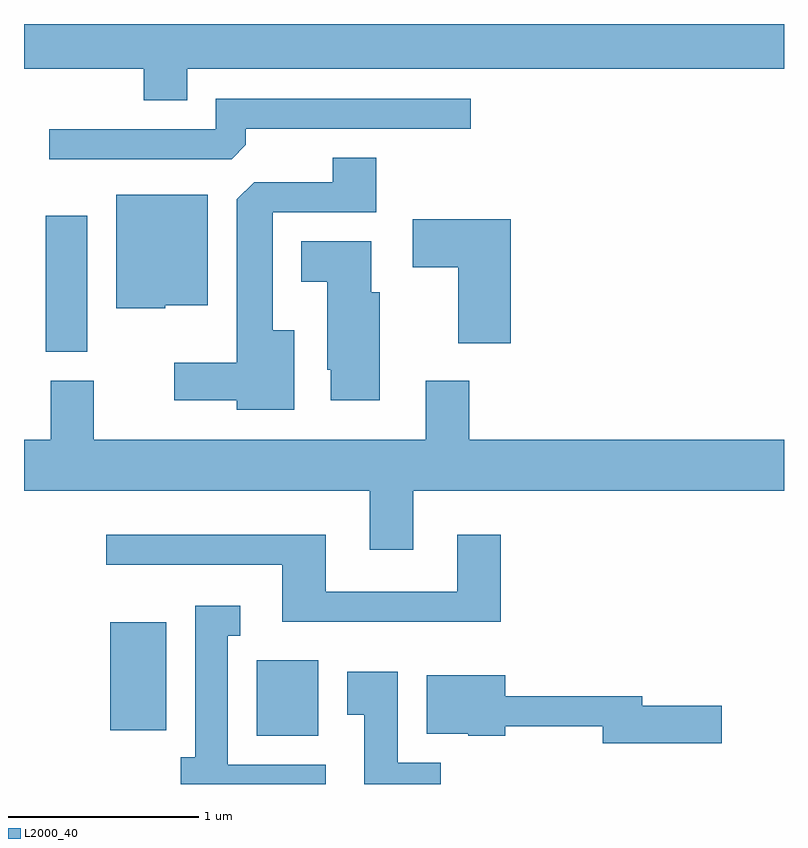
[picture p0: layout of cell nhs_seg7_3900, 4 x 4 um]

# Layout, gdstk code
import gdstk
lib = gdstk.Library(unit=1e-6, precision=1e-09)
def R(c, l, rs):  # rectangles x0, y0, x1, y1
    for r in rs: c.add(gdstk.rectangle(r[:2], r[2:], *l))
def P(c, l, *ps):  # polygons
    for p in ps: c.add(gdstk.Polygon(p, *l))
L2000_40 = (2000, 40)

nhs_seg7_3900 = lib.new_cell('nhs_seg7_3900')
R(nhs_seg7_3900, L2000_40, [(304.836,1788.506,305.159,1788.904), (304.066,1788.536,304.359,1789.104), (303.726,1790.526,303.944,1791.244)])
P(nhs_seg7_3900, L2000_40, [(304.469,1792.016),(307.611,1792.016),(307.611,1792.252),(303.611,1792.252),(303.611,1792.016),(304.241,1792.016),(304.241,1791.851),(304.469,1791.851)],
  [(304.779,1791.617),(304.779,1791.701),(305.963,1791.701),(305.963,1791.859),(304.621,1791.859),(304.621,1791.699),(303.743,1791.699),(303.743,1791.541),(304.704,1791.541)],
  [(305.034,1790.639),(304.919,1790.639),(304.919,1791.261),(305.464,1791.261),(305.464,1791.549),(305.236,1791.549),(305.236,1791.419),(304.822,1791.419),(304.731,1791.329),(304.731,1790.469),(304.401,1790.469),(304.401,1790.271),(304.731,1790.271),(304.731,1790.221),(305.034,1790.221)],
  [(304.355,1790.771),(304.579,1790.771),(304.579,1791.354),(304.096,1791.354),(304.096,1790.756),(304.355,1790.756)],
  [(306.174,1791.224),(305.656,1791.224),(305.656,1790.971),(305.896,1790.971),(305.896,1790.571),(306.174,1790.571)],
  [(305.484,1790.839),(305.439,1790.839),(305.439,1791.109),(305.071,1791.109),(305.071,1790.896),(305.206,1790.896),(305.206,1790.431),(305.226,1790.431),(305.226,1790.271),(305.484,1790.271)],
  [(305.659,1789.796),(307.611,1789.796),(307.611,1790.064),(305.954,1790.064),(305.954,1790.374),(305.726,1790.374),(305.726,1790.064),(303.979,1790.064),(303.979,1790.374),(303.751,1790.374),(303.751,1790.064),(303.611,1790.064),(303.611,1789.796),(305.431,1789.796),(305.431,1789.486),(305.659,1789.486)],
  [(306.119,1789.564),(305.891,1789.564),(305.891,1789.264),(305.199,1789.264),(305.199,1789.564),(304.043,1789.564),(304.043,1789.406),(304.971,1789.406),(304.971,1789.106),(306.119,1789.106)],
  [(305.199,1788.354),(304.684,1788.354),(304.684,1789.031),(304.748,1789.031),(304.748,1789.189),(304.511,1789.189),(304.511,1788.394),(304.436,1788.394),(304.436,1788.252),(305.199,1788.252)],
  [(305.804,1788.364),(305.579,1788.364),(305.579,1788.844),(305.311,1788.844),(305.311,1788.616),(305.401,1788.616),(305.401,1788.252),(305.804,1788.252)],
  [(307.284,1788.664),(306.864,1788.664),(306.864,1788.714),(306.144,1788.714),(306.144,1788.824),(305.731,1788.824),(305.731,1788.516),(305.95,1788.516),(305.95,1788.506),(306.144,1788.506),(306.144,1788.556),(306.656,1788.556),(306.656,1788.466),(307.284,1788.466)])

lib.write_gds('nhs_seg7_3900.gds')
